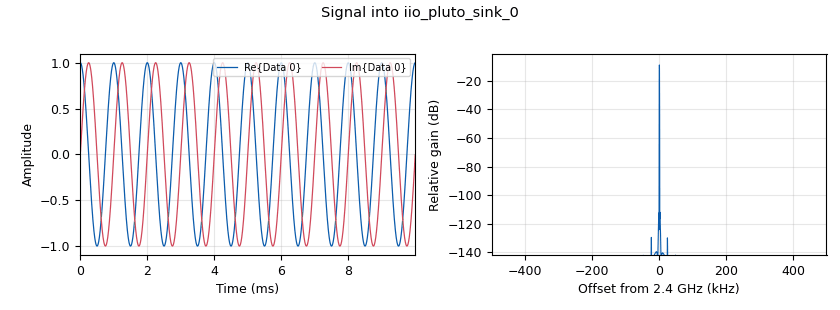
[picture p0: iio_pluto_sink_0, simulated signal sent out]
options:
  parameters:
    author: NRogers
    generate_options: qt_gui
    id: antennaDemo
    output_language: python
    title: AntennaDemo
  states: {}

blocks:
- name: samp_rate
  id: variable
  parameters:
    value: int(1e6)
  states: {}
- name: analog_sig_source_x_0
  id: analog_sig_source_x
  parameters:
    amp: '1'
    freq: '1000'
    offset: '0'
    phase: '0'
    samp_rate: samp_rate
    type: complex
    waveform: analog.GR_COS_WAVE
  states: {}
- name: iio_pluto_sink_0
  id: iio_pluto_sink
  parameters:
    attenuation1: '0'
    bandwidth: '20000000'
    buffer_size: '32768'
    cyclic: 'False'
    filter_source: '''Auto'''
    frequency: '2400000000'
    samplerate: samp_rate
    type: fc32
    uri: pluto.local
  states: {}
- name: iio_pluto_source_0
  id: iio_pluto_source
  parameters:
    bandwidth: '20000000'
    bbdc: 'True'
    buffer_size: '32768'
    filter_source: '''Auto'''
    frequency: '2400000000'
    gain1: '''manual'''
    manual_gain1: '64'
    quadrature: 'True'
    rfdc: 'True'
    samplerate: samp_rate
    type: fc32
    uri: pluto.local
  states: {}
- name: qtgui_freq_sink_x_0
  id: qtgui_freq_sink_x
  parameters:
    bw: samp_rate
    fc: '0'
    fftsize: '1024'
    type: complex
  states: {}

connections:
- [analog_sig_source_x_0, '0', iio_pluto_sink_0, '0']
- [iio_pluto_source_0, '0', qtgui_freq_sink_x_0, '0']

metadata:
  file_format: 1
  grc_version: 3.10.12.0
